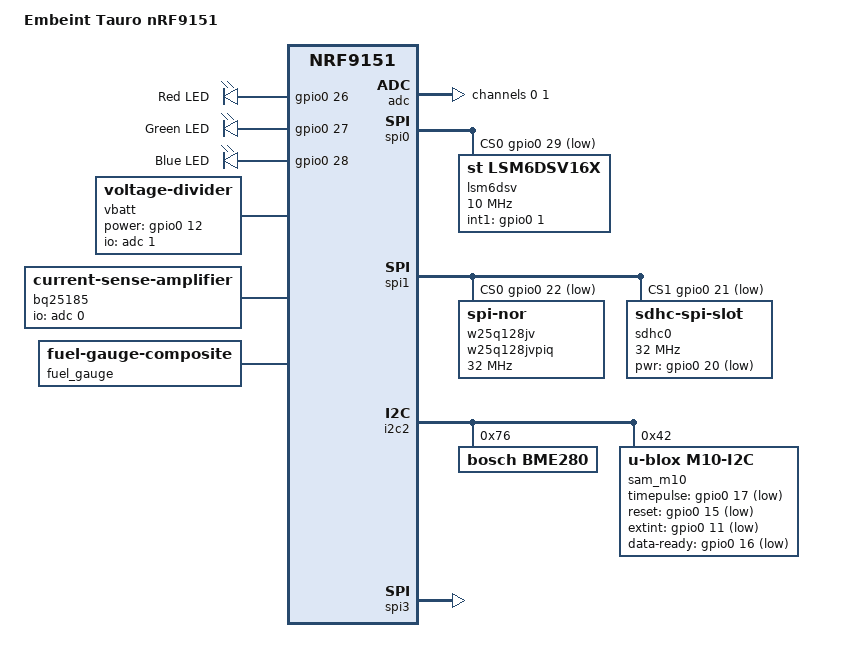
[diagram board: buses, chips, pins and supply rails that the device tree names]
/*
 * Copyright (c) 2024 Embeint Holdings Pty Ltd
 *
 * SPDX-License-Identifier: Apache-2.0
 */

#include "tauro_nrf9151_common-pinctrl.dtsi"
#include <zephyr/dt-bindings/battery/battery.h>
#include <zephyr/dt-bindings/input/input-event-codes.h>

/ {
	model = "Embeint Tauro nRF9151";
	compatible = "embeint,tauro-nrf9151";

	chosen {
		zephyr,console = &rtt0;
		zephyr,bt-hci = &hci_spi;
	};

	rtt0: rtt_chan0 {
		compatible = "segger,rtt-uart";
		status = "okay";
	};

	leds {
		compatible = "gpio-leds";
		led0: led_0 {
			gpios = <&gpio0 26 GPIO_ACTIVE_HIGH>;
			label = "Red LED";
		};
		led1: led_1 {
			gpios = <&gpio0 27 GPIO_ACTIVE_HIGH>;
			label = "Green LED";
		};
		led2: led_2 {
			gpios = <&gpio0 28 GPIO_ACTIVE_HIGH>;
			label = "Blue LED";
		};
	};

	vbatt: vbatt {
		compatible = "voltage-divider";
		io-channels = <&adc 1>;
		output-ohms = <10000>;
		full-ohms = <(64900 + 10000)>;
		power-gpios = <&gpio0 12 (GPIO_ACTIVE_HIGH | GPIO_OPEN_SOURCE ) >;
	};

	bq25185: bq25185 {
		compatible = "current-sense-amplifier";
		io-channels = <&adc 0>;
		sense-resistor-milli-ohms = <300000>;
		sense-gain-div = <300>;
		/* Each unit is ~150uA */
		zephyr,noise-threshold = <4>;
		/* Supports the range from 150mA to 1A */
		gain-extended-range = "ADC_GAIN_1_2";
	};

	fuel_gauge: fuel_gauge {
		compatible = "zephyr,fuel-gauge-composite";
		source-primary = <&vbatt>;
		source-secondary = <&bq25185>;
		device-chemistry = "lithium-ion-polymer";
		ocv-capacity-table-0 = <BATTERY_OCV_CURVE_LITHIUM_ION_POLYMER_DEFAULT>;
		charge-full-design-microamp-hours = <13400000>;
	};

	aliases {
		led0 = &led0;
		led1 = &led1;
		led2 = &led2;
		fuel-gauge0 = &fuel_gauge;
		imu0 = &lsm6dsv;
		gnss = &sam_m10;
		watchdog0 = &wdt0;
		environmental0 = &bme280;
	};
};

&adc {
	#address-cells = <1>;
	#size-cells = <0>;
	status = "okay";

	channel@0 {
		reg = <0>;
		/* Supports up to 150mA charging before capping out */
		zephyr,gain = "ADC_GAIN_4";
		zephyr,reference = "ADC_REF_INTERNAL";
		zephyr,vref-mv = <600>;
		zephyr,acquisition-time = <ADC_ACQ_TIME_MAX>;
		zephyr,resolution = <12>;
		zephyr,input-positive = <NRF_SAADC_AIN0>;
		zephyr,oversampling = <4>;
	};

	channel@1 {
		reg = <1>;
		zephyr,gain = "ADC_GAIN_1";
		zephyr,reference = "ADC_REF_INTERNAL";
		zephyr,vref-mv = <600>;
		zephyr,acquisition-time = <ADC_ACQ_TIME_MAX>;
		zephyr,resolution = <12>;
		zephyr,input-positive = <NRF_SAADC_AIN1>;
		zephyr,oversampling = <4>;
	};
};

&gpiote {
	status = "okay";
};

&gpio0 {
	status = "okay";
	/* Every pin except the GNSS timepulse interrupt */
	sense-edge-mask = <0xfffdffff>;
};

&spi0 {
	compatible = "nordic,nrf-spim";
	status = "okay";
	cs-gpios = <&gpio0 29 GPIO_ACTIVE_LOW>;
	pinctrl-0 = <&spi0_default>;
	pinctrl-1 = <&spi0_sleep>;
	pinctrl-names = "default", "sleep";

	lsm6dsv: lsm6dsv@0 {
		compatible = "st,lsm6dsv16x";
		reg = <0>;
		spi-max-frequency = <10000000>;
		int1-gpios = <&gpio0 1 GPIO_ACTIVE_HIGH>;
	};
};

&spi1 {
	compatible = "nordic,nrf-spim";
	status = "okay";
	cs-gpios = <&gpio0 22 (GPIO_ACTIVE_LOW | GPIO_OPEN_DRAIN)>,
			<&gpio0 21 (GPIO_ACTIVE_LOW | GPIO_OPEN_DRAIN)>;
	pinctrl-0 = <&spi1_default>;
	pinctrl-1 = <&spi1_sleep>;
	pinctrl-names = "default", "sleep";

	w25q128jv: w25q128jvpiq@0 {
		compatible = "jedec,spi-nor";
		status = "okay";
		reg = <0>;
		spi-max-frequency = <32000000>;
		size = <134217728>;
		has-dpd;
		t-enter-dpd = <3000>;
		t-exit-dpd = <20000>;
		jedec-id = [ef 40 18];
	};

	sdhc0: sdhc@1 {
		compatible = "zephyr,sdhc-spi-slot";
		status = "okay";
		reg = <1>;
		spi-max-frequency = <32000000>;
		pwr-gpios = <&gpio0 20 GPIO_ACTIVE_LOW>;
		mmc: mmc {
			compatible = "zephyr,sdmmc-disk";
			status = "okay";
			disk-name = "SD";
		};
	};
};

&i2c2 {
	compatible = "nordic,nrf-twim";
	status = "okay";
	pinctrl-0 = <&i2c2_default>;
	pinctrl-1 = <&i2c2_sleep>;
	pinctrl-names = "default", "sleep";

	bme280: bme280@76 {
		compatible = "bosch,bme280";
		status = "okay";
		reg = <0x76>;
	};

	sam_m10: sam_m10@42 {
		reg = <0x42>;
		compatible = "u-blox,m10-i2c";
		status = "okay";
		timepulse-gpios = <&gpio0 17 GPIO_ACTIVE_LOW>;
		reset-gpios = <&gpio0 15 GPIO_ACTIVE_LOW>;
		extint-gpios = <&gpio0 11 GPIO_ACTIVE_LOW>;
		data-ready-gpios = <&gpio0 16 GPIO_ACTIVE_LOW>;
		data-ready-pio = <1>;
	};
};

&spi3 {
	compatible = "nordic,nrf-spim";
	status = "okay";
	cs-gpios = <&gpio0 8 GPIO_ACTIVE_LOW>;
	pinctrl-0 = <&spi3_default>;
	pinctrl-1 = <&spi3_sleep>;
	pinctrl-names = "default", "sleep";

	/* Nordic nRF52840 (u-blox NINA-B302) */
	hci_spi: bt-hci@0 {
		compatible = "zephyr,bt-hci-spi";
		reg = <0>;
		spi-max-frequency = <8000000>;
		reset-gpios = <&gpio0 4 (GPIO_ACTIVE_LOW)>;
		irq-gpios = <&gpio0 10 (GPIO_ACTIVE_HIGH | GPIO_PULL_DOWN)>;
		reset-assert-duration-ms = <1>;
		/* Additional GPIO is available here:
		 * extra-gpios = <&gpio0 9 0>;
		 */
	};
};

/* Include default memory partition configuration file */
#include <vendor/nordic/nrf91xx_partition.dtsi>
